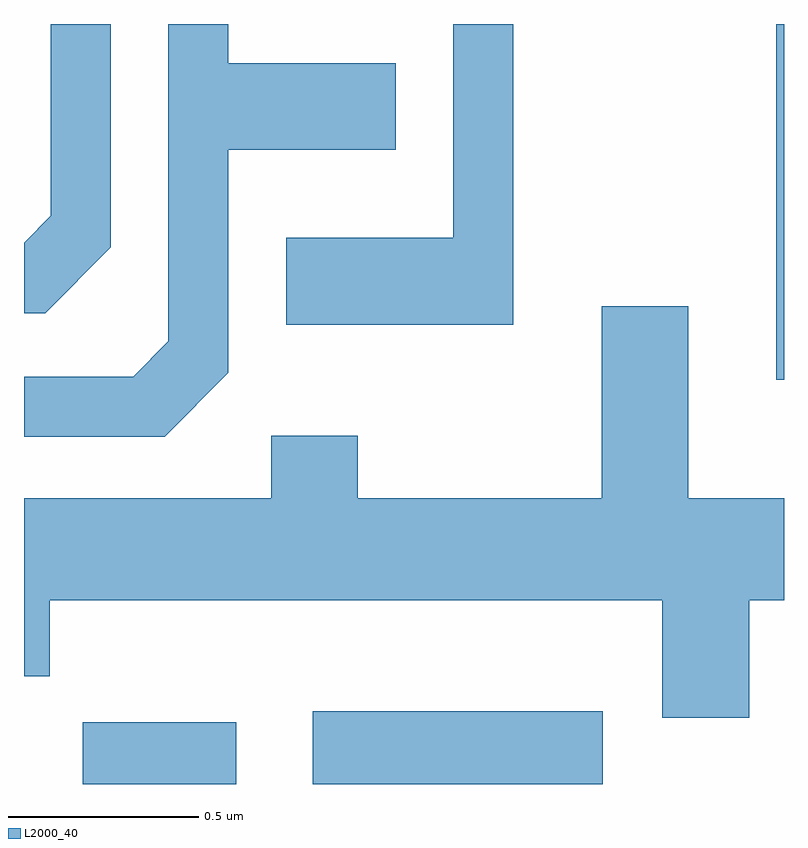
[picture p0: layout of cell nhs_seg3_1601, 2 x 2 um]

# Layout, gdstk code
import gdstk
lib = gdstk.Library(unit=1e-6, precision=1e-09)
def R(c, l, rs):  # rectangles x0, y0, x1, y1
    for r in rs: c.add(gdstk.rectangle(r[:2], r[2:], *l))
def P(c, l, *ps):  # polygons
    for p in ps: c.add(gdstk.Polygon(p, *l))
L2000_40 = (2000, 40)

nhs_seg3_1601 = lib.new_cell('nhs_seg3_1601')
R(nhs_seg3_1601, L2000_40, [(196.766,1209.892,197.169,1210.054), (197.371,1209.892,198.134,1210.084), (198.591,1210.956,198.611,1211.892)])
P(nhs_seg3_1601, L2000_40, [(196.839,1211.304),(196.839,1211.892),(196.681,1211.892),(196.681,1211.387),(196.611,1211.316),(196.611,1211.131),(196.667,1211.131)],
  [(197.149,1210.974),(197.149,1211.561),(197.589,1211.561),(197.589,1211.789),(197.149,1211.789),(197.149,1211.892),(196.991,1211.892),(196.991,1211.057),(196.899,1210.964),(196.611,1210.964),(196.611,1210.806),(196.982,1210.806)],
  [(197.899,1211.892),(197.741,1211.892),(197.741,1211.329),(197.301,1211.329),(197.301,1211.101),(197.899,1211.101)],
  [(198.519,1210.376),(198.611,1210.376),(198.611,1210.644),(198.359,1210.644),(198.359,1211.149),(198.131,1211.149),(198.131,1210.644),(197.489,1210.644),(197.489,1210.809),(197.261,1210.809),(197.261,1210.644),(196.611,1210.644),(196.611,1210.176),(196.679,1210.176),(196.679,1210.376),(198.291,1210.376),(198.291,1210.066),(198.519,1210.066)])

lib.write_gds('nhs_seg3_1601.gds')
